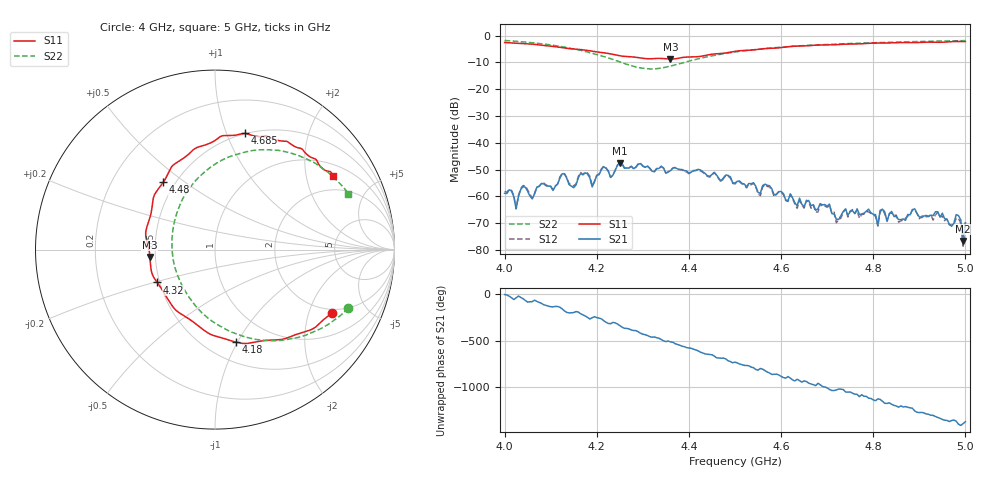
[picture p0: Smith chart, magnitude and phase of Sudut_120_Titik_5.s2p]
# Hz S RI R 50
! CMT, C1220, 16058040, 17.2.0/1
! Date: 15/08/2018 12:20:12
! Data: Format (Calibration Info)
! Freq  S11: Re/Im (F2)  S21: Re/Im (F2)  S12: Re/Im (F2)  S22: Re/Im (F2)
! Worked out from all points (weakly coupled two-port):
!   201 points, 4 GHz to 5 GHz, reference 50 ohm
!   highest |S21| = -47.63 dB at 4.25 GHz (marker M1); lowest = -76.7 dB at 4.995 GHz (marker M2)
!   lowest |S11| = -8.7 dB at 4.36 GHz (marker M3), VSWR 2.15, Z = 23.3 - j2.19 ohm
!   |S11| at or under -10 dB: nowhere
!   |S22| runs from -12.5 to -1.8 dB; largest |S21 - S12| = 0.00016
!   S11 on the Smith chart (normalised r, x): 4 GHz: 1.84, -2.89; 4.18 GHz: 0.69, -0.99; 4.32 GHz: 0.49, -0.21; 4.48 GHz: 0.43, +0.42; 4.685 GHz: 0.50, +1.16; 5 GHz: 1.39, +2.86
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4e9  0.6538 -0.3518  0.00114 -8.42e-05  0.00124 -0.000108  0.7428 -0.3253
4.025e9  0.6046 -0.3903  0.000451 -0.000377  0.000461 -0.000368  0.686 -0.3772
4.04e9  0.5713 -0.4218  0.000992 -0.00115  0.00103 -0.00121  0.6466 -0.4064
4.06e9  0.526 -0.4496  0.000147 -0.000885  0.00016 -0.000911  0.5892 -0.4405
4.17e9  0.1479 -0.5218  -0.00184 0.00173  -0.0019 0.00172  0.174 -0.4883
4.18e9  0.1172 -0.5153  -0.00091 0.00246  -0.000912 0.00256  0.133 -0.4742
4.19e9  0.0824 -0.5058  -0.000439 0.00144  -0.000447 0.00151  0.093 -0.4601
4.25e9  -0.1254 -0.4001  0.00383 0.0016  0.00389 0.00159  -0.1194 -0.2996
4.32e9  -0.3214 -0.1833  -0.000618 -0.00288  -0.000652 -0.00293  -0.2374 -0.0211
4.335e9  -0.3499 -0.1358  -0.00131 -0.00305  -0.00145 -0.00298  -0.2401 0.0426
4.36e9  -0.3629 -0.0407  -0.0027 -0.00135  -0.00271 -0.00131  -0.2292 0.1415
4.48e9  -0.288 0.3763  0.00227 0.00105  0.00223 0.000945  -0.0154 0.4654
4.5e9  -0.2531 0.4401  0.00175 -0.000318  0.00167 -0.000335  0.0304 0.4939
4.67e9  0.139 0.6429  -0.000228 0.000661  -0.000252 0.000639  0.3738 0.549
4.685e9  0.1654 0.6475  -0.000216 0.000693  -0.000218 0.000697  0.3999 0.5433
4.72e9  0.247 0.6289  0.000232 0.000293  0.0002 0.000253  0.4555 0.5281
4.74e9  0.2876 0.63  0.000501 0.000289  0.000473 0.000341  0.4818 0.5173
4.81e9  0.4106 0.5967  0.00021 -0.0002  0.000187 -0.000206  0.5705 0.4727
4.835e9  0.4545 0.57  3.52e-05 -0.000475  8.21e-05 -0.00047  0.599 0.4528
4.985e9  0.6462 0.4311  0.00031 0.000308  0.000271 0.000281  0.7314 0.3257
4.995e9  0.6516 0.4194  9.36e-05 0.000113  7.67e-05 8.93e-05  0.7394 0.3159
5e9  0.6559 0.4115  0.000105 0.000306  0.000104 0.000307  0.743 0.3114
